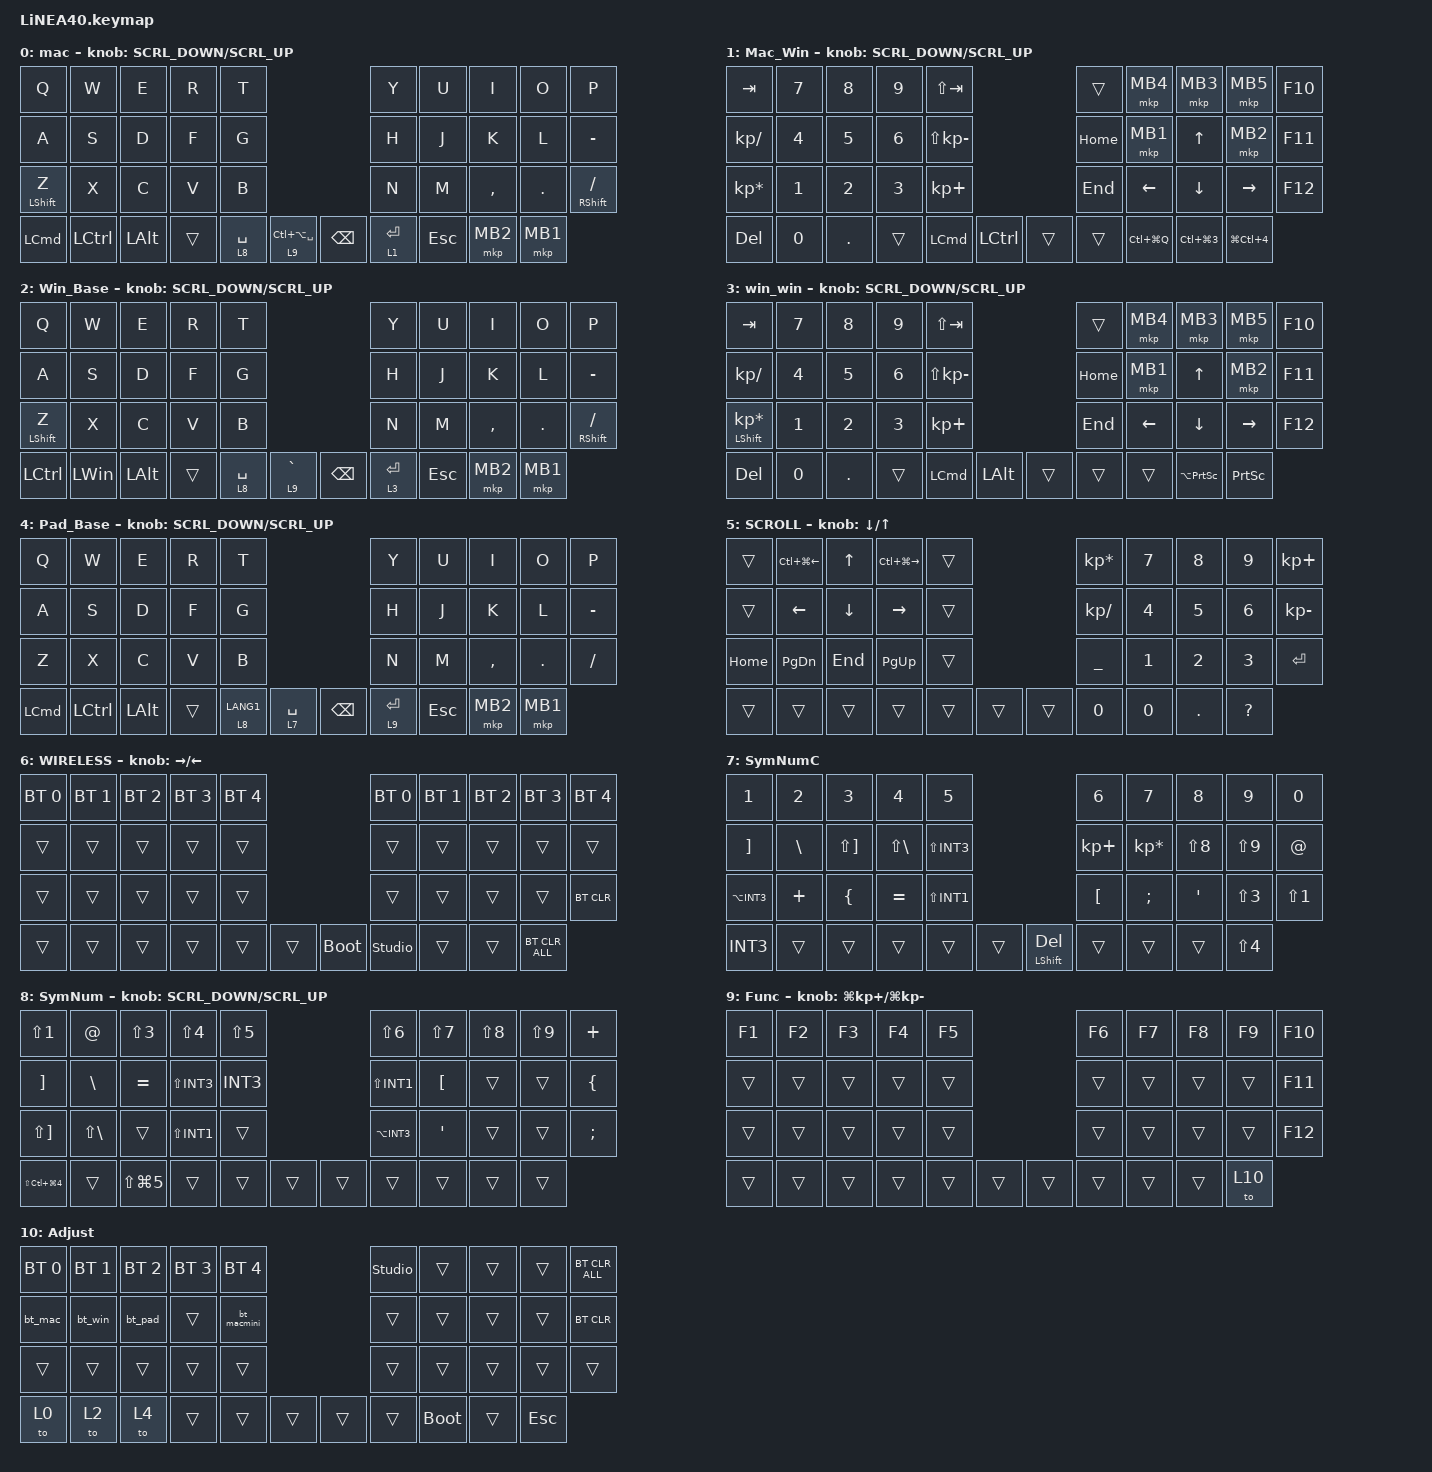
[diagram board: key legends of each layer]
#define ZMK_POINTING_DEFAULT_SCRL_VAL 150

#include <dt-bindings/zmk/input_transform.h>
#include <input/processors.dtsi>
#include <zephyr/dt-bindings/input/input-event-codes.h>
#include <behaviors.dtsi>
#include <dt-bindings/zmk/bt.h>
#include <dt-bindings/zmk/keys.h>
#include <dt-bindings/zmk/pointing.h>

#define MOUSE 1
#define MARK 2
#define CURSOR 3
#define FUNCTION 4
#define SCROLL 5
#define WIRELESS 6

&mt {
    tapping-term-ms = <200>;
    flavor = "balanced";
    quick-tap-ms = <0>;
};

//mouse cursol

&mmv {
    delay-ms = <20>;
    trigger-period-ms = <5>;
    time-to-max-speed-ms = <100>;
    acceleration-exponent = <2>;
};

//mouse scroll

&msc {
    delay-ms = <3>;
    trigger-period-ms = <3>;
    time-to-max-speed-ms = <100>;
    acceleration-exponent = <0>;
};

/ {
    input_processors {
        zip_wheel_scaler: zip_wheel_scaler {
            compatible = "zmk,input-processor-scaler";
            #input-processor-cells = <2>;
            type = <INPUT_EV_REL>;
            codes = <INPUT_REL_WHEEL>;
            track-remainders;
        };
    };
};

&msc_input_listener {
    speed_up {
        layers = <FUNCTION>;
        input-processors = <&zip_wheel_scaler 3 1>; //スクロールを3倍速にする
    };
};

&trackball_listener {
    scroller {
        layers = <SCROLL>;
        input-processors =
            <&zip_xy_transform INPUT_TRANSFORM_Y_INVERT>,
            //スクロール方向を逆転,,,,,,,,,,,,,,,,,,,,,,,,,,,,,,,,,,,,,,,,,
            <&zip_xy_to_scroll_mapper>;
    };
};

/ {
    combos {
        compatible = "zmk,combos";

        ZenkakuHankaku {
            bindings = <&kp GRAVE>;
            key-positions = <11 12>;
        };

        DeleteKey {
            bindings = <&kp DEL>;
            key-positions = <8 9>;
        };

        InsertKey {
            bindings = <&kp INS>;
            key-positions = <6 7>;
        };

        LeftClick {
            bindings = <&mkp MB1>;
            key-positions = <17 16>;
        };

        RightClick {
            bindings = <&mkp MB2>;
            key-positions = <18 17>;
        };

        ClickNext {
            bindings = <&mkp MB5>;
            key-positions = <27 28>;
        };

        PrevClick {
            bindings = <&mkp MB4>;
            key-positions = <26 27>;
        };

        tab {
            bindings = <&kp TAB>;
            key-positions = <11 12>;
        };

        shift_tab {
            bindings = <&kp LS(TAB)>;
            key-positions = <12 13>;
        };
    };

    behaviors {
        re_kp: sensor_rotate_kp {
            compatible = "zmk,behavior-sensor-rotate-var";
            #sensor-binding-cells = <2>;
            bindings = <&kp>, <&kp>;
        };

        mouse_scrl: mouse_wheel_scrl {
            compatible = "zmk,behavior-sensor-rotate-var";
            #sensor-binding-cells = <2>;
            bindings = <&msc>, <&msc>;

            tap-ms = <20>;
        };
    };

    macros {
        bt_mac: new_macro {
            compatible = "zmk,behavior-macro";
            #binding-cells = <0>;
            bindings = <&bt BT_SEL 0>, <&macro_wait_time 200>, <&to 0>;

            label = "NEW_MACRO";
        };

        bt_win: bt_win {
            compatible = "zmk,behavior-macro";
            #binding-cells = <0>;
            bindings = <&bt BT_SEL 1>, <&macro_tap_time 200>, <&to 2>;

            label = "BT_WIN";
        };

        bt_pad: bt_pad {
            compatible = "zmk,behavior-macro";
            #binding-cells = <0>;
            bindings = <&bt BT_SEL 2>, <&macro_tap_time 200>, <&to 0>;

            label = "BT_PAD";
        };

        bt_macmini: bt_macmini {
            compatible = "zmk,behavior-macro";
            #binding-cells = <0>;
            bindings = <&bt BT_SEL 4>, <&macro_tap_time 200>, <&to 0>;

            label = "BT_MACMINI";
        };
    };

    keymap {
        compatible = "zmk,keymap";

        mac {
            bindings = <
&kp Q             &kp W             &kp E         &kp R   &kp T                                              &kp Y        &kp U  &kp I       &kp O       &kp P
&kp A             &kp S             &kp D         &kp F   &kp G                                              &kp H        &kp J  &kp K       &kp L       &kp MINUS
&mt LEFT_SHIFT Z  &kp X             &kp C         &kp V   &kp B                                              &kp N        &kp M  &kp COMMA   &kp PERIOD  &mt RIGHT_SHIFT SLASH
&kp LEFT_COMMAND  &kp LEFT_CONTROL  &kp LEFT_ALT  &trans  &lt 8 SPACE  &lt 9 LC(LA(SPACE))    &kp BACKSPACE  &lt 1 ENTER         &kp ESCAPE  &mkp MB2    &mkp MB1
            >;

            sensor-bindings = <&mouse_scrl SCRL_DOWN SCRL_UP>;
        };

        Mac_Win {
            bindings = <
&kp TAB          &kp NUMBER_7  &kp NUMBER_8  &kp NUMBER_9  &kp LS(TAB)                            &trans    &mkp MB4        &mkp MB3        &mkp MB5              &kp F10
&kp KP_SLASH     &kp NUMBER_4  &kp NUMBER_5  &kp NUMBER_6  &kp LS(KP_MINUS)                       &kp HOME  &mkp MB1        &kp UP_ARROW    &mkp MB2              &kp F11
&kp KP_ASTERISK  &kp NUMBER_1  &kp NUMBER_2  &kp NUMBER_3  &kp KP_PLUS                            &kp END   &kp LEFT_ARROW  &kp DOWN_ARROW  &kp RIGHT_ARROW       &kp F12
&kp DEL          &kp NUMBER_0  &kp PERIOD    &trans        &kp LEFT_COMMAND  &kp LCTRL    &trans  &trans                    &kp LC(LG(Q))   &kp LC(LG(NUMBER_3))  &kp LG(LC(NUMBER_4))
            >;

            sensor-bindings = <&mouse_scrl SCRL_DOWN SCRL_UP>;
        };

        Win_Base {
            bindings = <
&kp Q             &kp W         &kp E         &kp R   &kp T                                      &kp Y        &kp U  &kp I       &kp O       &kp P
&kp A             &kp S         &kp D         &kp F   &kp G                                      &kp H        &kp J  &kp K       &kp L       &kp MINUS
&mt LEFT_SHIFT Z  &kp X         &kp C         &kp V   &kp B                                      &kp N        &kp M  &kp COMMA   &kp PERIOD  &mt RIGHT_SHIFT SLASH
&kp LEFT_CONTROL  &kp LEFT_WIN  &kp LEFT_ALT  &trans  &lt 8 SPACE  &lt 9 GRAVE    &kp BACKSPACE  &lt 3 ENTER         &kp ESCAPE  &mkp MB2    &mkp MB1
            >;

            sensor-bindings = <&mouse_scrl SCRL_DOWN SCRL_UP>;
        };

        win_win {
            bindings = <
&kp TAB                     &kp NUMBER_7  &kp NUMBER_8  &kp NUMBER_9  &kp LS(TAB)                               &trans    &mkp MB4        &mkp MB3        &mkp MB5             &kp F10
&kp KP_SLASH                &kp NUMBER_4  &kp NUMBER_5  &kp NUMBER_6  &kp LS(KP_MINUS)                          &kp HOME  &mkp MB1        &kp UP_ARROW    &mkp MB2             &kp F11
&mt LEFT_SHIFT KP_ASTERISK  &kp NUMBER_1  &kp NUMBER_2  &kp NUMBER_3  &kp KP_PLUS                               &kp END   &kp LEFT_ARROW  &kp DOWN_ARROW  &kp RIGHT_ARROW      &kp F12
&kp DEL                     &kp NUMBER_0  &kp PERIOD    &trans        &kp LEFT_COMMAND  &kp LEFT_ALT    &trans  &trans                    &trans          &kp LA(PRINTSCREEN)  &kp PRINTSCREEN
            >;

            sensor-bindings = <&mouse_scrl SCRL_DOWN SCRL_UP>;
        };

        Pad_Base {
            bindings = <
&kp Q             &kp W             &kp E         &kp R   &kp T                                      &kp Y        &kp U  &kp I       &kp O     &kp P
&kp A             &kp S             &kp D         &kp F   &kp G                                      &kp H        &kp J  &kp K       &kp L     &kp MINUS
&kp Z             &kp X             &kp C         &kp V   &kp B                                      &kp N        &kp M  &kp COMMA   &kp DOT   &kp SLASH
&kp LEFT_COMMAND  &kp LEFT_CONTROL  &kp LEFT_ALT  &trans  &lt 8 LANG1  &lt 7 SPACE    &kp BACKSPACE  &lt 9 ENTER         &kp ESCAPE  &mkp MB2  &mkp MB1
            >;

            sensor-bindings = <&mouse_scrl SCRL_DOWN SCRL_UP>;
        };

        SCROLL {
            bindings = <
&trans    &kp LC(LG(LEFT_ARROW))  &kp UP_ARROW  &kp LC(LG(RIGHT_ARROW))  &trans                    &kp KP_MULTIPLY  &kp NUMBER_7  &kp NUMBER_8  &kp NUMBER_9  &kp KP_PLUS
&trans    &kp LEFT_ARROW          &kp DOWN      &kp RIGHT_ARROW          &trans                    &kp KP_SLASH     &kp NUMBER_4  &kp NUMBER_5  &kp NUMBER_6  &kp KP_MINUS
&kp HOME  &kp PAGE_DOWN           &kp END       &kp PAGE_UP              &trans                    &kp UNDER        &kp NUMBER_1  &kp NUMBER_2  &kp NUMBER_3  &kp ENTER
&trans    &trans                  &trans        &trans                   &trans  &trans    &trans  &kp NUMBER_0                   &kp NUMBER_0  &kp DOT       &kp QUESTION
            >;

            sensor-bindings = <&inc_dec_kp DOWN_ARROW UP_ARROW>;
        };

        WIRELESS {
            bindings = <
&bt BT_SEL 0  &bt BT_SEL 1  &bt BT_SEL 2  &bt BT_SEL 3  &bt BT_SEL 4                         &bt BT_SEL 0    &bt BT_SEL 1  &bt BT_SEL 2  &bt BT_SEL 3  &bt BT_SEL 4
&trans        &trans        &trans        &trans        &trans                               &trans          &trans        &trans        &trans        &trans
&trans        &trans        &trans        &trans        &trans                               &trans          &trans        &trans        &trans        &bt BT_CLR
&trans        &trans        &trans        &trans        &trans        &trans    &bootloader  &studio_unlock                &trans        &trans        &bt BT_CLR_ALL
            >;

            sensor-bindings = <&inc_dec_kp RIGHT_ARROW LEFT_ARROW>;
        };

        SymNumC {
            bindings = <
&kp NUMBER_1  &kp NUMBER_2  &kp NUMBER_3           &kp NUMBER_4  &kp NUMBER_5                                   &kp NUMBER_6      &kp NUMBER_7     &kp NUMBER_8      &kp NUMBER_9      &kp NUMBER_0
&kp RBKT      &kp BSLH      &kp LS(RIGHT_BRACKET)  &kp LS(BSLH)  &kp LS(INT3)                                   &kp KP_PLUS       &kp KP_MULTIPLY  &kp LS(NUMBER_8)  &kp LS(NUMBER_9)  &kp AT
&kp LA(INT3)  &kp PLUS      &kp LBRC               &kp EQUAL     &kp LS(INT1)                                   &kp LEFT_BRACKET  &kp SEMICOLON    &kp SINGLE_QUOTE  &kp LS(NUMBER_3)  &kp LS(NUMBER_1)
&kp INT3      &trans        &trans                 &trans        &trans        &trans    &mt LEFT_SHIFT DELETE  &trans                             &trans            &trans            &kp LS(NUMBER_4)
            >;
        };

        SymNum {
            bindings = <
&kp LS(NUMBER_1)          &kp AT_SIGN        &kp LS(NUMBER_3)      &kp LS(NUMBER_4)  &kp LS(NUMBER_5)                    &kp LS(NUMBER_6)  &kp LS(NUMBER_7)  &kp LS(NUMBER_8)  &kp LS(NUMBER_9)  &kp PLUS
&kp RIGHT_BRACKET         &kp BACKSLASH      &kp EQUAL             &kp LS(INT3)      &kp INT3                            &kp LS(INT1)      &kp LEFT_BRACKET  &trans            &trans            &kp LEFT_BRACE
&kp LS(RIGHT_BRACKET)     &kp LS(BACKSLASH)  &trans                &kp LS(INT1)      &trans                              &kp LA(INT3)      &kp SINGLE_QUOTE  &trans            &trans            &kp SEMICOLON
&kp LS(LC(LG(NUMBER_4)))  &trans             &kp LS(LG(NUMBER_5))  &trans            &trans            &trans    &trans  &trans                              &trans            &trans            &trans
            >;

            sensor-bindings = <&mouse_scrl SCRL_DOWN SCRL_UP>;
        };

        Func {
            bindings = <
&kp F1  &kp F2  &kp F3  &kp F4  &kp F5                    &kp F6  &kp F7  &kp F8  &kp F9  &kp F10
&trans  &trans  &trans  &trans  &trans                    &trans  &trans  &trans  &trans  &kp F11
&trans  &trans  &trans  &trans  &trans                    &trans  &trans  &trans  &trans  &kp F12
&trans  &trans  &trans  &trans  &trans  &trans    &trans  &trans          &trans  &trans  &to 10
            >;

            sensor-bindings = <&inc_dec_kp LG(KP_PLUS) LG(KP_MINUS)>;
        };

        Adjust {
            bindings = <
&bt BT_SEL 0  &bt BT_SEL 1  &bt BT_SEL 2  &bt BT_SEL 3  &bt BT_SEL 4                    &studio_unlock  &trans  &trans       &trans  &bt BT_CLR_ALL
&bt_mac       &bt_win       &bt_pad       &trans        &bt_macmini                     &trans          &trans  &trans       &trans  &bt BT_CLR
&trans        &trans        &trans        &trans        &trans                          &trans          &trans  &trans       &trans  &trans
&to 0         &to 2         &to 4         &trans        &trans        &trans    &trans  &trans                  &bootloader  &trans  &kp ESC
            >;
        };
    };
};
